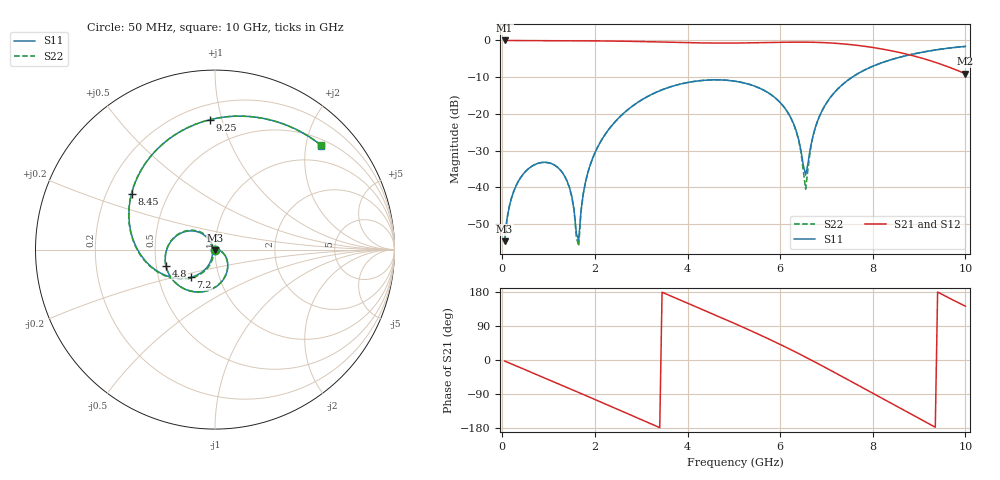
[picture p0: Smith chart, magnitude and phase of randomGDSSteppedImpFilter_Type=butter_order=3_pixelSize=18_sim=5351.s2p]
! freq	dB(S11)	phase(S11)	dB(S12)	phase(S12)
!  dB(S21)	phase(S21)	dB(S22)	phase(S22)
!S-par simulation data
#  GHz  S  DB  R 50
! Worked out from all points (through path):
!   200 points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, 50 MHz to 10 GHz, reference 50 ohm
!   highest |S21| = -0.01 dB at 50 MHz (marker M1); lowest = -9.1 dB at 10 GHz (marker M2)
!   group delay of S21, straight-line fit = 160 ps
!   lowest |S11| = -54.7 dB at 50 MHz (marker M3), VSWR 1.00, Z = 50 - j0.183 ohm
!   |S11| at or under -10 dB: start of sweep to 7.556 GHz
!   |S22| runs from -56.0 to -1.6 dB; largest |S21 - S12| = 0
!   S11 on the Smith chart (normalised r, x): 50 MHz: 1.00, -0.00; 4.8 GHz: 0.56, -0.11; 7.2 GHz: 0.73, -0.24; 8.45 GHz: 0.31, +0.28; 9.25 GHz: 0.30, +0.92; 10 GHz: 0.62, +2.31
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0.05  -54.74 -90.1  -0.01 -2.7  -0.01 -2.7  -54.74 -90.1
0.25  -41.00 -102.9  -0.03 -13.1  -0.03 -13.1  -41.00 -102.8
0.65  -34.18 -124.7  -0.05 -33.8  -0.05 -33.8  -34.18 -124.4
1.35  -37.05 -164.6  -0.08 -70.1  -0.08 -70.1  -37.06 -163.3
1.5  -42.48 -177.4  -0.09 -78.0  -0.09 -78.0  -42.53 -174.4
1.65  -54.37 56.1  -0.10 -85.8  -0.10 -85.8  -56.04 46.1
1.75  -41.62 8.7  -0.10 -91.0  -0.10 -91.0  -41.71 5.1
1.95  -32.12 -8.1  -0.12 -101.5  -0.12 -101.5  -32.13 -9.6
2.3  -24.22 -28.6  -0.16 -120.0  -0.16 -120.0  -24.22 -29.5
3.4  -13.70 -88.1  -0.42 -178.5  -0.42 -178.5  -13.71 -88.7
4.8  -10.81 -161.1  -0.72 107.8  -0.72 107.8  -10.81 -161.8
5.05  -11.15 -174.2  -0.71 94.5  -0.71 94.5  -11.16 -175.0
6.15  -19.32 128.1  -0.47 32.2  -0.47 32.2  -19.35 125.4
6.4  -27.03 123.8  -0.45 16.9  -0.45 16.9  -27.28 116.9
6.55  -36.69 -172.0  -0.46 7.5  -0.46 7.5  -40.51 -171.9
6.7  -26.43 -111.2  -0.49 -2.0  -0.49 -2.0  -26.71 -104.6
7.2  -13.78 -131.0  -0.78 -34.6  -0.78 -34.6  -13.81 -129.4
7.75  -8.53 -166.5  -1.47 -71.1  -1.47 -71.1  -8.54 -165.7
8.35  -5.42 153.0  -2.69 -111.2  -2.69 -111.2  -5.43 153.5
8.45  -5.04 146.2  -2.94 -117.9  -2.94 -117.9  -5.05 146.6
9.25  -2.80 92.1  -5.55 -170.9  -5.55 -170.9  -2.80 92.4
10  -1.63 44.4  -9.08 141.9  -9.08 141.9  -1.63 44.5
